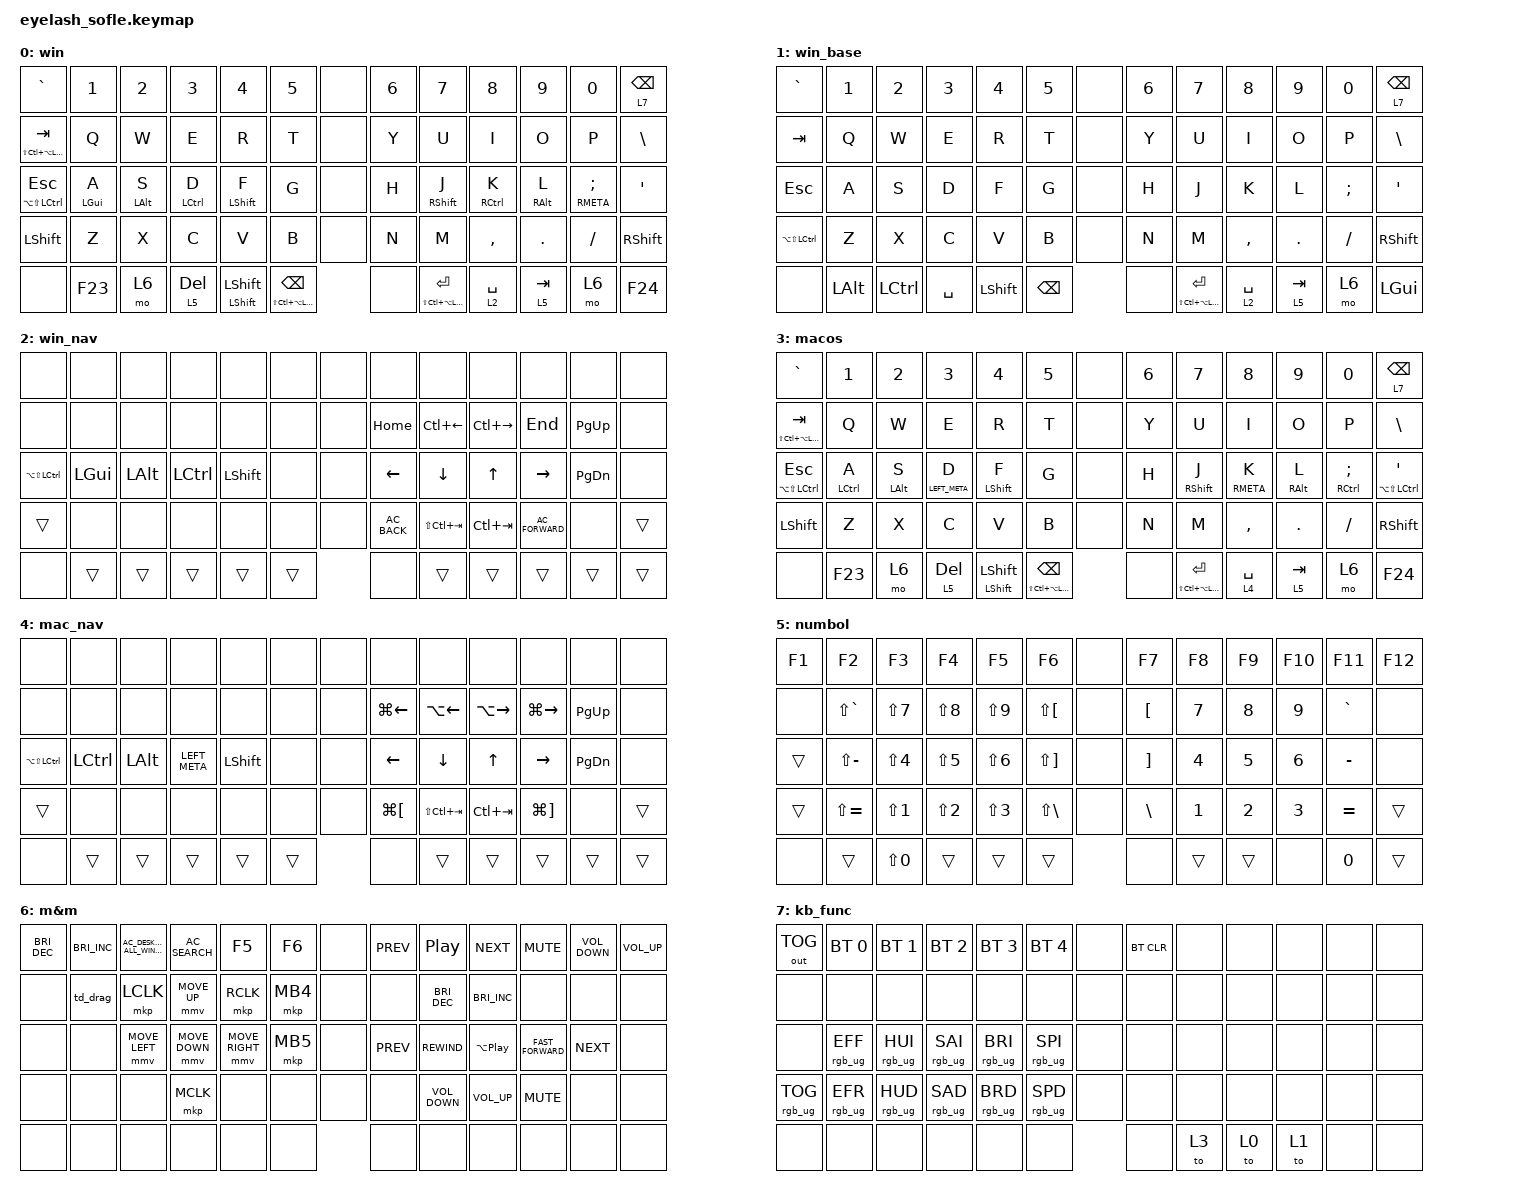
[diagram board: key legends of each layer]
#include <dt-bindings/zmk/mouse.h>
#include <input/processors.dtsi>
#include <behaviors.dtsi>
#include <dt-bindings/zmk/bt.h>
#include <dt-bindings/zmk/keys.h>
#include <dt-bindings/zmk/outputs.h>
#include <dt-bindings/zmk/pointing.h>
#include <dt-bindings/zmk/rgb.h>

/*

   &mmv_input_listener {
       input-processors = <&zip_xy_scaler 2 1>;
   };

   &msc_input_listener {
       input-processors = <&zip_xy_scaler 2 1>;
   };

 */

#define ZMK_MOUSE_DEFAULT_MOVE_VAL 2500  // 600
#define ZMK_MOUSE_DEFAULT_SCRL_VAL 20    // 10

&sk {
    release-after-ms = <2000>;
    quick-release;
};

/ {
    macros {
        drag_lock: drag_lock {
            compatible = "zmk,behavior-macro";
            #binding-cells = <0>;
            bindings = <&macro_press>, <&mkp LCLK>;
        };

        drag_unlock: drag_unlock {
            compatible = "zmk,behavior-macro";
            #binding-cells = <0>;
            bindings = <&macro_release>, <&mkp LCLK>;
        };
    };

    behaviors {
        mmv {
            acceleration-exponent = <1>;      // 1
            time-to-max-speed-ms = <250>;     // 40
            delay-ms = <0>;                   // 0
        };

        msc {
            acceleration-exponent = <1>;      // 0
            time-to-max-speed-ms = <400>;     // 500
            delay-ms = <0>;                   // 10
        };

        td_drag: td_drag {
            compatible = "zmk,behavior-tap-dance";
            #binding-cells = <0>;
            tapping-term-ms = <300>;
            bindings = <&drag_lock>, <&drag_unlock>;
        };
    };

    hrm_l: hrm_l {
        compatible = "zmk,behavior-hold-tap";
        label = "HRM_L";
        bindings = <&kp>, <&kp>;

        #binding-cells = <2>;
        flavor = "balanced";
        tapping-term-ms = <200>;
        quick-tap-ms = <250>;
        require-prior-idle-ms = <120>;
        hold-trigger-on-release;
        hold-trigger-key-positions = <7 20 24 25 33 34 35 36 37 38 46 47 48 49 50 51 8 10 11 12 21 22 23 9 52 53 54 55 56 57 58 59 60 61 62 63>;
    };

    hrm_r: hrm_r {
        compatible = "zmk,behavior-hold-tap";
        label = "HRM_R";
        bindings = <&kp>, <&kp>;

        #binding-cells = <2>;
        flavor = "balanced";
        tapping-term-ms = <200>;
        quick-tap-ms = <250>;
        require-prior-idle-ms = <120>;
        hold-trigger-on-release;
        hold-trigger-key-positions = <0 1 2 3 4 5 13 14 15 16 17 18 26 27 28 29 30 31 39 40 41 42 43 44 52 53 54 55 56 57 58 59 60 61 62 63>;
    };

    hold_sticky: hold_sticky {
        compatible = "zmk,behavior-hold-tap";
        label = "HOLD_STICKY";
        #binding-cells = <2>;
        bindings = <&kp>, <&sk>;

        flavor = "balanced";
        tapping-term-ms = <200>;
        quick-tap-ms = <250>;
    };

    keymap {
        compatible = "zmk,keymap";

        win {
            bindings = <
&kp GRAVE                 &kp N1             &kp N2             &kp N3          &kp N4               &kp N5                            &none  &kp N6                      &kp N7          &kp N8          &kp N9         &kp N0             &lt 7 BACKSPACE
&mt LS(LC(LA(LGUI))) TAB  &kp Q              &kp W              &kp E           &kp R                &kp T                             &none  &kp Y                       &kp U           &kp I           &kp O          &kp P              &kp BSLH
&mt LA(LS(LCTRL)) ESCAPE  &hrm_l LEFT_GUI A  &hrm_l LEFT_ALT S  &hrm_l LCTRL D  &hrm_l LSHFT F       &kp G                             &none  &kp H                       &hrm_r RSHFT J  &hrm_r RCTRL K  &hrm_r RALT L  &hrm_r RMETA SEMI  &kp APOS
&kp LSHFT                 &kp Z              &kp X              &kp C           &kp V                &kp B                             &none  &kp N                       &kp M           &kp COMMA       &kp DOT        &kp FSLH           &kp RIGHT_SHIFT
&none                     &kp F23            &mo 6              &lt 5 DELETE    &hold_sticky LEFT_SHIFT LEFT_SHIFT  &mt LS(LC(LA(LGUI))) BACKSPACE    &none  &mt LS(LC(LA(LGUI))) ENTER  &lt 2 SPACE     &lt 5 TAB       &mo 6          &kp F24
            >;

            display-name = "win";
        };

        win_base {
            bindings = <
&kp GRAVE                 &kp N1    &kp N2    &kp N3     &kp N4     &kp N5           &none  &kp N6     &kp N7     &kp N8     &kp N9    &kp N0    &lt 7 BACKSPACE
&kp TAB                   &kp Q     &kp W     &kp E      &kp R      &kp T            &none  &kp Y      &kp U      &kp I      &kp O     &kp P     &kp BSLH
&kp ESCAPE                &kp A     &kp S     &kp D      &kp F      &kp G            &none  &kp H      &kp J      &kp K      &kp L     &kp SEMI  &kp APOS
&kp LA(LS(LCTRL))         &kp Z     &kp X     &kp C      &kp V      &kp B            &none  &kp N      &kp M      &kp COMMA  &kp DOT   &kp FSLH  &kp RIGHT_SHIFT
&none                     &kp LALT  &kp LCTRL  &kp SPACE  &kp LSHFT  &kp BACKSPACE    &none  &mt LS(LC(LA(LGUI))) ENTER  &lt 2 SPACE  &lt 5 TAB  &mo 6  &kp LGUI
            >;

            display-name = "win_base";
        };

        win_nav {
            bindings = <
&none              &none         &none         &none      &none      &none     &none  &none           &none            &none          &none             &none          &none
&none              &none         &none         &none      &none      &none     &none  &kp HOME        &kp LC(LEFT)     &kp LC(RIGHT)  &kp END           &kp PG_UP      &none
&kp LA(LS(LCTRL))  &kp LEFT_GUI  &kp LEFT_ALT  &kp LCTRL  &kp LSHFT  &none     &none  &kp LEFT_ARROW  &kp DOWN         &kp UP_ARROW   &kp RIGHT         &kp PAGE_DOWN  &none
&trans             &none         &none         &none      &none      &none     &none  &kp C_AC_BACK   &kp LS(LC(TAB))  &kp LC(TAB)    &kp C_AC_FORWARD  &none          &trans
&none              &trans        &trans        &trans     &trans     &trans    &none  &trans          &trans           &trans         &trans            &trans
            >;

            display-name = "win_nav";
        };

        macos {
            bindings = <
&kp GRAVE                 &kp N1          &kp N2             &kp N3              &kp N4               &kp N5                            &none  &kp N6                      &kp N7          &kp N8          &kp N9         &kp N0             &lt 7 BACKSPACE
&mt LS(LC(LA(LGUI))) TAB  &kp Q           &kp W              &kp E               &kp R                &kp T                             &none  &kp Y                       &kp U           &kp I           &kp O          &kp P              &kp BSLH
&mt LA(LS(LCTRL)) ESCAPE  &hrm_l LCTRL A  &hrm_l LEFT_ALT S  &hrm_l LEFT_META D  &hrm_l LSHFT F       &kp G                             &none  &kp H                       &hrm_r RSHFT J  &hrm_r RMETA K  &hrm_r RALT L  &hrm_r RCTRL SEMI  &hrm_r LA(LS(LCTRL)) APOSTROPHE
&kp LSHFT                 &kp Z           &kp X              &kp C               &kp V                &kp B                             &none  &kp N                       &kp M           &kp COMMA       &kp DOT        &kp FSLH           &kp RIGHT_SHIFT
&none                     &kp F23         &mo 6              &lt 5 DELETE        &hold_sticky LEFT_SHIFT LEFT_SHIFT  &mt LS(LC(LA(LGUI))) BACKSPACE    &none  &mt LS(LC(LA(LGUI))) ENTER  &lt 4 SPACE     &lt 5 TAB       &mo 6          &kp F24
            >;

            display-name = "macos";
        };

        mac_nav {
            bindings = <
&none              &none      &none         &none          &none      &none     &none  &none                 &none            &none          &none                  &none          &none
&none              &none      &none         &none          &none      &none     &none  &kp LG(LEFT)          &kp LA(LEFT)     &kp LA(RIGHT)  &kp LG(RIGHT)          &kp PG_UP      &none
&kp LA(LS(LCTRL))  &kp LCTRL  &kp LEFT_ALT  &kp LEFT_META  &kp LSHFT  &none     &none  &kp LEFT_ARROW        &kp DOWN         &kp UP_ARROW   &kp RIGHT              &kp PAGE_DOWN  &none
&trans             &none      &none         &none          &none      &none     &none  &kp LG(LEFT_BRACKET)  &kp LS(LC(TAB))  &kp LC(TAB)    &kp LG(RIGHT_BRACKET)  &none          &trans
&none              &trans     &trans        &trans         &trans     &trans    &none  &trans                &trans           &trans         &trans                 &trans
            >;

            display-name = "mac_nav";
        };

        numbol {
            bindings = <
&kp F1  &kp F2         &kp F3            &kp F4            &kp F5            &kp F6                   &none  &kp F7             &kp F8        &kp F9        &kp F10       &kp F11    &kp F12
&none   &kp LS(GRAVE)  &kp LS(NUMBER_7)  &kp LS(NUMBER_8)  &kp LS(NUMBER_9)  &kp LS(LEFT_BRACKET)     &none  &kp LEFT_BRACKET   &kp NUMBER_7  &kp NUMBER_8  &kp NUMBER_9  &kp GRAVE  &none
&trans  &kp LS(MINUS)  &kp LS(NUMBER_4)  &kp LS(NUMBER_5)  &kp LS(NUMBER_6)  &kp LS(RIGHT_BRACKET)    &none  &kp RIGHT_BRACKET  &kp NUMBER_4  &kp NUMBER_5  &kp NUMBER_6  &kp MINUS  &none
&trans  &kp LS(EQUAL)  &kp LS(NUMBER_1)  &kp LS(NUMBER_2)  &kp LS(NUMBER_3)  &kp LS(BACKSLASH)        &none  &kp BSLH           &kp NUMBER_1  &kp NUMBER_2  &kp NUMBER_3  &kp EQUAL  &trans
&none   &trans         &kp LS(N0)        &trans            &trans            &trans                   &none  &trans             &trans        &none         &kp N0        &trans
            >;

            display-name = "numbol";
        };

        mouse_and_media {
            bindings = <
&kp C_BRIGHTNESS_DEC  &kp C_BRIGHTNESS_INC  &kp C_AC_DESKTOP_SHOW_ALL_WINDOWS  &kp C_AC_SEARCH  &kp F5           &kp F6      &none  &kp C_PREV  &kp C_PLAY_PAUSE      &kp C_NEXT            &kp C_MUTE          &kp C_VOLUME_DOWN  &kp C_VOLUME_UP
&none                 &td_drag              &mkp LCLK                          &mmv MOVE_UP     &mkp RCLK        &mkp MB4    &none  &none       &kp C_BRIGHTNESS_DEC  &kp C_BRIGHTNESS_INC  &none               &none              &none
&none                 &none                 &mmv MOVE_LEFT                     &mmv MOVE_DOWN   &mmv MOVE_RIGHT  &mkp MB5    &none  &kp K_PREV  &kp C_REWIND          &kp LA(C_PLAY_PAUSE)  &kp C_FAST_FORWARD  &kp C_NEXT         &none
&none                 &none                 &none                              &mkp MCLK        &none            &none       &none  &none       &kp C_VOLUME_DOWN     &kp C_VOLUME_UP       &kp C_MUTE          &none              &none
&none                 &none                 &none                              &none            &none            &none       &none  &none       &none                 &none                 &none               &none
            >;

            display-name = "m&m";
        };

        kb_func {
            bindings = <
&out OUT_TOG     &bt BT_SEL 0     &bt BT_SEL 1     &bt BT_SEL 2     &bt BT_SEL 3     &bt BT_SEL 4       &none  &bt BT_CLR  &none   &none  &none  &none  &none
&none            &none            &none            &none            &none            &none              &none  &none       &none   &none  &none  &none  &none
&none            &rgb_ug RGB_EFF  &rgb_ug RGB_HUI  &rgb_ug RGB_SAI  &rgb_ug RGB_BRI  &rgb_ug RGB_SPI    &none  &none       &none   &none  &none  &none  &none
&rgb_ug RGB_TOG  &rgb_ug RGB_EFR  &rgb_ug RGB_HUD  &rgb_ug RGB_SAD  &rgb_ug RGB_BRD  &rgb_ug RGB_SPD    &none  &none       &none   &none  &none  &none  &none
&none            &none            &none            &none            &none            &none              &none  &to 3       &to 0   &to 1  &none  &none
            >;

            display-name = "kb_func";
        };
    };
};
